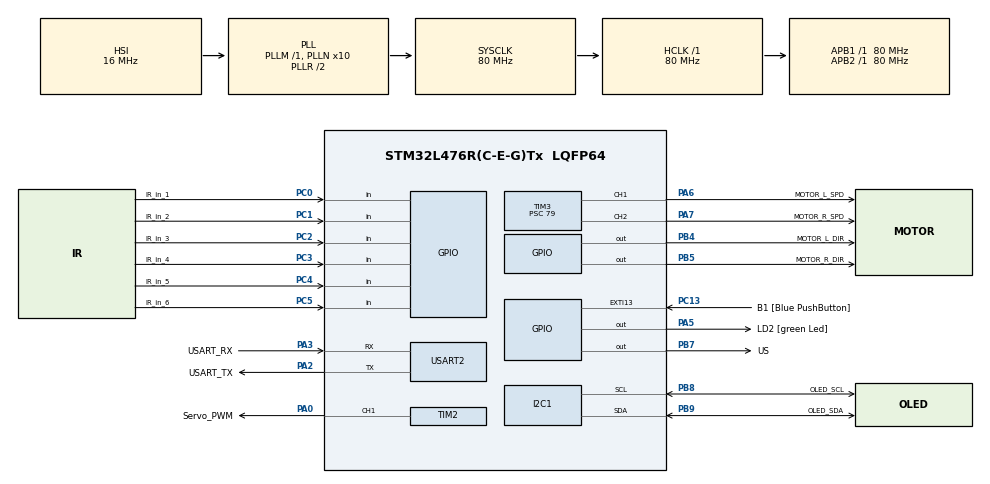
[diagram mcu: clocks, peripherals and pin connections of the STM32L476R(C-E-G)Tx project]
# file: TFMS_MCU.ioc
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I2C1.CustomTiming=Disabled
I2C1.Timing=0x10D19CE4
Mcu.Family=STM32L4
Mcu.Name=STM32L476R(C-E-G)Tx
Mcu.Package=LQFP64
NVIC.PriorityGroup=NVIC_PRIORITYGROUP_4
PA0.GPIO_Label=Servo_PWM
PA0.Signal=S_TIM2_CH1
PA13\ (JTMS-SWDIO).GPIO_Label=TMS
PA13\ (JTMS-SWDIO).Mode=Serial_Wire
PA13\ (JTMS-SWDIO).Signal=SYS_JTMS-SWDIO
PA14\ (JTCK-SWCLK).GPIO_Label=TCK
PA14\ (JTCK-SWCLK).Mode=Serial_Wire
PA14\ (JTCK-SWCLK).Signal=SYS_JTCK-SWCLK
PA2.GPIO_Label=USART_TX
PA2.GPIO_Mode=GPIO_MODE_AF_PP
PA2.GPIO_PuPd=GPIO_NOPULL
PA2.GPIO_Speed=GPIO_SPEED_FREQ_VERY_HIGH
PA2.Mode=Asynchronous
PA2.Signal=USART2_TX
PA3.GPIO_Label=USART_RX
PA3.GPIO_Mode=GPIO_MODE_AF_PP
PA3.GPIO_PuPd=GPIO_NOPULL
PA3.GPIO_Speed=GPIO_SPEED_FREQ_VERY_HIGH
PA3.Mode=Asynchronous
PA3.Signal=USART2_RX
PA5.GPIO_Label=LD2 [green Led]
PA5.GPIO_ModeDefaultOutputPP=GPIO_MODE_OUTPUT_PP
PA5.GPIO_PuPd=GPIO_NOPULL
PA5.GPIO_Speed=GPIO_SPEED_FREQ_LOW
PA5.Signal=GPIO_Output
PA6.GPIO_Label=MOTOR_L_SPD
PA6.Signal=S_TIM3_CH1
PA7.GPIO_Label=MOTOR_R_SPD
PA7.Signal=S_TIM3_CH2
PB3\ (JTDO-TRACESWO).GPIO_Label=SWO
PB3\ (JTDO-TRACESWO).Signal=SYS_JTDO-SWO
PB4\ (NJTRST).GPIO_Label=MOTOR_L_DIR
PB4\ (NJTRST).Signal=GPIO_Output
PB5.GPIO_Label=MOTOR_R_DIR
PB5.Signal=GPIO_Output
PB7.GPIO_Label=US
PB7.Signal=GPIO_Output
PB8.GPIO_Label=OLED_SCL
PB8.Mode=I2C
PB8.Signal=I2C1_SCL
PB9.GPIO_Label=OLED_SDA
PB9.Mode=I2C
PB9.Signal=I2C1_SDA
PC0.GPIO_Label=IR_in_1
PC0.Signal=GPIO_Input
PC1.GPIO_Label=IR_in_2
PC1.Signal=GPIO_Input
PC13.GPIO_Label=B1 [Blue PushButton]
PC13.GPIO_ModeDefaultEXTI=GPIO_MODE_IT_FALLING
PC13.GPIO_PuPd=GPIO_NOPULL
PC13.Signal=GPXTI13
PC14-OSC32_IN\ (PC14).Mode=LSE-External-Oscillator
PC14-OSC32_IN\ (PC14).Signal=RCC_OSC32_IN
PC15-OSC32_OUT\ (PC15).Mode=LSE-External-Oscillator
PC15-OSC32_OUT\ (PC15).Signal=RCC_OSC32_OUT
PC2.GPIO_Label=IR_in_3
PC2.Signal=GPIO_Input
PC3.GPIO_Label=IR_in_4
PC3.Signal=GPIO_Input
PC4.GPIO_Label=IR_in_5
PC4.Signal=GPIO_Input
PC5.GPIO_Label=IR_in_6
PC5.Signal=GPIO_Input
PH0-OSC_IN\ (PH0).Signal=RCC_OSC_IN
PH1-OSC_OUT\ (PH1).Signal=RCC_OSC_OUT
ProjectManager.HeapSize=0x200
ProjectManager.StackSize=0x400
ProjectManager.TargetToolchain=STM32CubeIDE
RCC.ADCFreq_Value=64000000
RCC.AHBFreq_Value=80000000
RCC.APB1Freq_Value=80000000
RCC.APB1TimFreq_Value=80000000
RCC.APB2Freq_Value=80000000
RCC.APB2TimFreq_Value=80000000
RCC.CortexFreq_Value=80000000
RCC.HCLKFreq_Value=80000000
RCC.HSE_VALUE=8000000
RCC.HSI_VALUE=16000000
RCC.MSI_VALUE=4000000
RCC.PLLN=10
RCC.PLLSourceVirtual=RCC_PLLSOURCE_HSI
RCC.PREFETCH_ENABLE=1
RCC.SYSCLKFreq_VALUE=80000000
RCC.SYSCLKSource=RCC_SYSCLKSOURCE_PLLCLK
RCC.USBFreq_Value=64000000
RCC.VCOOutputFreq_Value=160000000
SH.S_TIM2_CH1.0=TIM2_CH1,PWM Generation1 CH1
SH.S_TIM3_CH1.0=TIM3_CH1,PWM Generation1 CH1
SH.S_TIM3_CH2.0=TIM3_CH2,PWM Generation2 CH2
TIM2.Channel-PWM\ Generation1\ CH1=TIM_CHANNEL_1
TIM2.Period=19999
TIM2.Prescaler=79
TIM3.Channel-PWM\ Generation1\ CH1=TIM_CHANNEL_1
TIM3.Channel-PWM\ Generation2\ CH2=TIM_CHANNEL_2
TIM3.Prescaler=79
USART2.VirtualMode-Asynchronous=VM_ASYNC
VP_TIM4_VS_ClockSourceINT.Mode=Internal
board=NUCLEO-L476RG

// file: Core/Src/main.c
/* USER CODE BEGIN Header */
/**
  ******************************************************************************
  * @file           : main.c
  * @brief          : Main program body
  ******************************************************************************
  * @attention
  *
  * Copyright (c) 2026 STMicroelectronics.
  * All rights reserved.
  *
  * This software is licensed under terms that can be found in the LICENSE file
  * in the root directory of this software component.
  * If no LICENSE file comes with this software, it is provided AS-IS.
  *
  ******************************************************************************
  */
/* USER CODE END Header */

#include "main.h"

/* USER CODE BEGIN Includes */
#include <stdint.h>
#include <stdbool.h>
/* USER CODE END Includes */

/* USER CODE BEGIN PTD */
typedef enum
{
  STEER_KEEP_LAST = 0,
  STEER_HARD_LEFT,
  STEER_LEFT,
  STEER_SOFT_LEFT,
  STEER_STRAIGHT,
  STEER_SOFT_RIGHT,
  STEER_RIGHT,
  STEER_HARD_RIGHT
} steer_cmd_t;
/* USER CODE END PTD */

/* USER CODE BEGIN PD */
// Servo timer
#define SERVO_TIM               (&htim2)
#define SERVO_CH                TIM_CHANNEL_1 // PA0

// Motor timer
#define MOTOR_TIM               (&htim3)
#define MOTOR_L_PWM_CH          TIM_CHANNEL_1 // PA6
#define MOTOR_R_PWM_CH          TIM_CHANNEL_2 // PA7

// Sensor count
#define IR_BLACK_IS_LOW         0U // 0 if read black, 1 if white
#define IR_SENSOR_COUNT         6U // 6 IR sensors total, PC0 - PC5

// Initial Motor Speeds
#define MOTOR_SPEED_STOP         0U // Stationary speed,
#define MOTOR_SPEED_STARTUP     70U // Kick-start speed,

// US sensor stopping distance
#define OBSTACLE_STOP_DISTANCE_MM   100U // 100 mm, PB7

// Motor directions
#define MOTOR_L_FORWARD_LEVEL   GPIO_PIN_SET   // SET forward, RESET back, PB4
#define MOTOR_R_FORWARD_LEVEL   GPIO_PIN_RESET // RESET forward, SET back, PB5

// Define track: 1U = Track 1 | 2U = Track 2
#define TRACK_PROFILE  2U

/*================================== Track 1 =================================*/
#if (TRACK_PROFILE == 1U)

// Motor Speeds
#define MOTOR_SPEED_STRAIGHT       50U
#define MOTOR_SPEED_SOFT_TURN      45U
#define MOTOR_SPEED_HARD_TURN      45U

// Servo turn ang les
#define SERVO_STRAIGHT_ANGLE     90.0f
#define SERVO_HARD_LEFT_ANGLE    20.0f
#define SERVO_LEFT_ANGLE         40.0f
#define SERVO_SOFT_LEFT_ANGLE    65.0f
#define SERVO_SOFT_RIGHT_ANGLE  115.0f
#define SERVO_RIGHT_ANGLE       140.0f
#define SERVO_HARD_RIGHT_ANGLE  160.0f

// Sensor hyperparameters
#define IR_SAMPLE_COUNT             5U // Samples in a cycle, Higher  more noise filtering
#define IR_SAMPLE_DELAY_US        200U // Time (µs) between consec samples, Larger = more stable
#define STEER_CMD_CONFIRM_COUNT     1U // Number of consecutive identical decisions required
#define SERVO_MAX_STEP_PER_LOOP  10.0f // Maximum angle change per control loop
#define CONTROL_LOOP_DELAY_MS      10U // Delay between control updates (ms)

// Active sensor count per direction
#define STEER_LEFT_SENSOR_COUNT  1U // 1 IR sensor left
#define STEER_RIGHT_SENSOR_COUNT 1U // 1 IR sensor right

/*================================== Track 2 =================================*/
#elif (TRACK_PROFILE == 2U)

// Motor Speeds
#define MOTOR_SPEED_STRAIGHT       40U
#define MOTOR_SPEED_SOFT_TURN      45U
#define MOTOR_SPEED_HARD_TURN      45U

// Servo turn angles
#define SERVO_STRAIGHT_ANGLE     90.0f
#define SERVO_HARD_LEFT_ANGLE     5.0f
#define SERVO_LEFT_ANGLE         25.0f
#define SERVO_SOFT_LEFT_ANGLE    45.0f
#define SERVO_SOFT_RIGHT_ANGLE  135.0f
#define SERVO_RIGHT_ANGLE       155.0f
#define SERVO_HARD_RIGHT_ANGLE  175.0f

// Sensor hyperparameters
#define IR_SAMPLE_COUNT             3U // Samples in a cycle, Higher  more noise filtering
#define IR_SAMPLE_DELAY_US         50U // Time (µs) between consec samples, Larger = more stable
#define STEER_CMD_CONFIRM_COUNT     1U // Number of consecutive identical decisions required
#define SERVO_MAX_STEP_PER_LOOP  15.0f // Maximum angle change per control loop
#define CONTROL_LOOP_DELAY_MS       1U // Delay between control updates (ms)

// Active sensor count per direction
#define STEER_LEFT_SENSOR_COUNT  2U // 2 IR sensor left
#define STEER_RIGHT_SENSOR_COUNT 2U // 2 IR sensor right

#else
#error "TRACK_PROFILE must be 1 or 2!"
#endif
/* USER CODE END PD */

I2C_HandleTypeDef hi2c1;

TIM_HandleTypeDef htim2;
TIM_HandleTypeDef htim3;
TIM_HandleTypeDef htim4;

UART_HandleTypeDef huart2;

/* USER CODE BEGIN PV */
// GPIO mapping for IR1..IR6
static GPIO_TypeDef* const ir_ports[IR_SENSOR_COUNT] =
{
  IR_in_1_GPIO_Port,
  IR_in_2_GPIO_Port,
  IR_in_3_GPIO_Port,
  IR_in_4_GPIO_Port,
  IR_in_5_GPIO_Port,
  IR_in_6_GPIO_Port
};

static const uint16_t ir_pins[IR_SENSOR_COUNT] =
{
  IR_in_1_Pin,
  IR_in_2_Pin,
  IR_in_3_Pin,
  IR_in_4_Pin,
  IR_in_5_Pin,
  IR_in_6_Pin
};

#if (TRACK_PROFILE == 1U)
// Track 1: IR2 on left, IR5 on right
static const uint8_t steer_left_indices[STEER_LEFT_SENSOR_COUNT]   = {1U}; // IR2
static const uint8_t steer_right_indices[STEER_RIGHT_SENSOR_COUNT] = {4U}; // IR5
#elif (TRACK_PROFILE == 2U)
// Track 2: IR2+IR3 on left, IR4+IR5 on right
static const uint8_t steer_left_indices[STEER_LEFT_SENSOR_COUNT]   = {1U, 2U}; // IR2, IR3
static const uint8_t steer_right_indices[STEER_RIGHT_SENSOR_COUNT] = {3U, 4U}; // IR4, IR5
#endif

// Latest sensor and steering state
volatile uint8_t g_ir_mask = 0U;
volatile uint32_t g_us_mm = 0U;
static float g_last_steer_angle = SERVO_STRAIGHT_ANGLE;

static steer_cmd_t g_last_cmd = STEER_STRAIGHT;
static steer_cmd_t g_pending_cmd = STEER_STRAIGHT;
static uint8_t g_pending_count = 0U;
/* USER CODE END PV */

void SystemClock_Config(void);
static void MX_GPIO_Init(void);
static void MX_I2C1_Init(void);
static void MX_TIM2_Init(void);
static void MX_TIM3_Init(void);
static void MX_TIM4_Init(void);
static void MX_USART2_UART_Init(void);

/* USER CODE BEGIN PFP */
// Servo control helpers
static void servo_set_pulse_us(uint16_t pulse_us);
static void servo_set_angle(float angle);

// Motor control helpers
static void motor_set_raw(uint32_t channel, uint8_t value);
static void motor_set_left(uint8_t speed);
static void motor_set_right(uint8_t speed);
static void motor_set_both(uint8_t speed);
static void motor_stop(void);
static void motor_set_forward_direction(void);

// IR sensor reading helpers
static bool ir_read_black(uint8_t idx);
static uint8_t ir_read_mask(void);

// US sensor helpers
static void us_pin_output(void);
static void us_pin_input(void);
static void us_delay_us(uint16_t us);
static void us_trigger(void);
static uint32_t us_echo_pulse_us(uint32_t timeout_us);
static uint32_t us_read_distance_mm(void);

// Steering decision helpers
static steer_cmd_t steering_get_command(uint8_t ir_mask);
static steer_cmd_t steering_filter_command(steer_cmd_t new_cmd);
static void steering_apply_command(steer_cmd_t cmd);
static uint8_t speed_for_steering(steer_cmd_t cmd);
static void control_loop(void);

// Manual test helpers
static void servo_sweep_test(void);
static void motor_test(void);
/* USER CODE END PFP */

/* USER CODE BEGIN 0 */
/*================================= Servo ====================================*/
// Servo PWM pulse width in microseconds
static void servo_set_pulse_us(uint16_t pulse_us)
{
  // Clamp pulse width to safe servo range
  if (pulse_us < 800U)  pulse_us = 800U;
  if (pulse_us > 2400U) pulse_us = 2400U;

  __HAL_TIM_SET_COMPARE(SERVO_TIM, SERVO_CH, pulse_us);
}

// Convert steering angle to PWM pulse and send it to the servo
static void servo_set_angle(float angle)
{
  // Clamp angle to standard servo range (0–180 degrees, 90 is centre)
  if (angle < 0.0f)   angle = 0.0f;
  if (angle > 180.0f) angle = 180.0f;

  // Convert angle to PWM pulse
  float pulse_us_f = 1000.0f + (angle / 180.0f) * 1000.0f;

  servo_set_pulse_us((uint16_t)(pulse_us_f + 0.5f));
}

/*================================= Motor ====================================*/
// Write raw PWM value to one motor channel
static void motor_set_raw(uint32_t channel, uint8_t value)
{
  uint32_t arr = __HAL_TIM_GET_AUTORELOAD(MOTOR_TIM);
  uint32_t pulse = ((uint32_t)value * arr) / 255U;
  __HAL_TIM_SET_COMPARE(MOTOR_TIM, channel, pulse);
}
// Set left motor speed
static void motor_set_left(uint8_t speed)
{
  motor_set_raw(MOTOR_L_PWM_CH, speed);
}

// Set right motor speed
static void motor_set_right(uint8_t speed)
{
  motor_set_raw(MOTOR_R_PWM_CH, speed);
}

// Set both motors to the same speed
static void motor_set_both(uint8_t speed)
{
  motor_set_left(speed);
  motor_set_right(speed);
}

// Stop both motors
static void motor_stop(void)
{
  motor_set_both(MOTOR_SPEED_STOP);
}

// Set motor direction pins for forward travel
static void motor_set_forward_direction(void)
{
  HAL_GPIO_WritePin(MOTOR_L_DIR_GPIO_Port, MOTOR_L_DIR_Pin, MOTOR_L_FORWARD_LEVEL);
  HAL_GPIO_WritePin(MOTOR_R_DIR_GPIO_Port, MOTOR_R_DIR_Pin, MOTOR_R_FORWARD_LEVEL);
}

/*===================================== IR ===================================*/
// Read one IR sensor and return true if it detects black
static bool ir_read_black(uint8_t idx)
{
  // Check for valid sensor index
  if (idx >= IR_SENSOR_COUNT)
  {
    return false;   // Invalid index → no detection
  }
  // Read the GPIO pin state for the given IR sensor
  GPIO_PinState s = HAL_GPIO_ReadPin(ir_ports[idx], ir_pins[idx]);

#if IR_BLACK_IS_LOW
  return (s == GPIO_PIN_RESET);
#else
  return (s == GPIO_PIN_SET);
#endif
}

// Read all IR sensors and pack results into a bit mask
static uint8_t ir_read_mask(void)
{
  uint8_t mask = 0U; // Bitmask to store results for all sensors

  // Loop through each IR sensor
  for (uint8_t i = 0U; i < IR_SENSOR_COUNT; i++)
  {
    uint8_t black_count = 0U; // Count how many times black is detected

    // Take multiple samples for noise reduction
    for (uint8_t s = 0U; s < IR_SAMPLE_COUNT; s++)
    {
      // Read sensor and increment count if black is detected
      if (ir_read_black(i))
      {
        black_count++;
      }

      // Small delay between samples
      us_delay_us(IR_SAMPLE_DELAY_US);
    }

    // Majority voting: if more than half the samples detect black
    if (black_count >= ((IR_SAMPLE_COUNT / 2U) + 1U))
    {
      // Set the corresponding bit in the mask
      mask |= (1U << i);
    }
  }

  return mask;
}

/*============================== Ultrasonic ==================================*/
// Configure shared US pin as output for trigger pulse
static void us_pin_output(void)
{
  GPIO_InitTypeDef GPIO_InitStruct = {0};

  GPIO_InitStruct.Pin = US_Pin;
  GPIO_InitStruct.Mode = GPIO_MODE_OUTPUT_PP; 	 // Push-pull output mode
  GPIO_InitStruct.Pull = GPIO_NOPULL; 			 // No pull-up or pull-down
  GPIO_InitStruct.Speed = GPIO_SPEED_FREQ_LOW;   // Low speed is sufficient
  HAL_GPIO_Init(US_GPIO_Port, &GPIO_InitStruct);
}

// Configure shared US pin as input for echo reading
static void us_pin_input(void)
{
  GPIO_InitTypeDef GPIO_InitStruct = {0};

  GPIO_InitStruct.Pin = US_Pin;
  GPIO_InitStruct.Mode = GPIO_MODE_INPUT;	// Set pin as input to read echo signal
  GPIO_InitStruct.Pull = GPIO_NOPULL;		// No pull resistor needed
  HAL_GPIO_Init(US_GPIO_Port, &GPIO_InitStruct);
}

// Microsecond delay using TIM4
static void us_delay_us(uint16_t us)
{
  // Reset timer counter
  __HAL_TIM_SET_COUNTER(&htim4, 0U);

  // Wait until counter reaches desired microseconds
  while (__HAL_TIM_GET_COUNTER(&htim4) < us)
  {
  }
}

// Send trigger pulse to US sensor
static void us_trigger(void)
{
  // Set pin as output to send trigger signal
  us_pin_output();

  // Ensure clean LOW before pulse
  HAL_GPIO_WritePin(US_GPIO_Port, US_Pin, GPIO_PIN_RESET);
  us_delay_us(2U);

  // Send HIGH pulse (minimum 10 µs required by most sensors)
  HAL_GPIO_WritePin(US_GPIO_Port, US_Pin, GPIO_PIN_SET);
  us_delay_us(10U);

  // End trigger pulse
  HAL_GPIO_WritePin(US_GPIO_Port, US_Pin, GPIO_PIN_RESET);

  // Switch pin back to input mode to listen for echo
  us_pin_input();
}

// Measure echo pulse width in microseconds
static uint32_t us_echo_pulse_us(uint32_t timeout_us)
{
  // Wait for echo signal to go HIGH (start of echo)
  __HAL_TIM_SET_COUNTER(&htim4, 0U);
  while (HAL_GPIO_ReadPin(US_GPIO_Port, US_Pin) == GPIO_PIN_RESET)
  {
	// Timeout protection to avoid infinite loop
    if (__HAL_TIM_GET_COUNTER(&htim4) > timeout_us)
    {
      return 0U; // No echo detected
    }
  }

  // Measure how long the signal stays HIGH (echo duration)
  __HAL_TIM_SET_COUNTER(&htim4, 0U);
  while (HAL_GPIO_ReadPin(US_GPIO_Port, US_Pin) == GPIO_PIN_SET)
  {
    // Timeout protection
    if (__HAL_TIM_GET_COUNTER(&htim4) > timeout_us)
    {
      return 0U;
    }
  }

  // Return pulse width in microseconds
  return __HAL_TIM_GET_COUNTER(&htim4);
}

// Read obstacle distance in millimetres (mm)
static uint32_t us_read_distance_mm(void)
{
  uint32_t pw;

  // Send trigger pulse
  us_trigger();

  // Measure echo pulse width (timeout ~30 ms → ~5 meters max range)
  pw = us_echo_pulse_us(30000U);

  // If no valid echo, return 0 (no object or out of range)
  if (pw == 0U)
  {
    return 0U;
  }

  // distance = (time × speed of sound) / 2
  // speed of sound ≈ 343 m/s → 0.343 mm/µs
  // division by 2 accounts for round trip (to object and back)
  return (pw * 343U) / 2000U;
}

/*=============================== Steering ==================================*/
// Generate steering command from active IR sensor states
static steer_cmd_t steering_get_command(uint8_t ir_mask)
{
  uint8_t left_count = 0U;
  uint8_t right_count = 0U;

  // Count how many LEFT-side sensors detect the line
  for (uint8_t i = 0U; i < STEER_LEFT_SENSOR_COUNT; i++)
  {

	// Check valid index and if that sensor bit is active in mask
    uint8_t idx = steer_left_indices[i];
    if ((idx < IR_SENSOR_COUNT) && ((ir_mask & (1U << idx)) != 0U))
    {
      left_count++;
    }
  }

  // Count how many RIGHT-side sensors detect the line
  for (uint8_t i = 0U; i < STEER_RIGHT_SENSOR_COUNT; i++)
  {
    uint8_t idx = steer_right_indices[i];
    if ((idx < IR_SENSOR_COUNT) && ((ir_mask & (1U << idx)) != 0U))
    {
      right_count++;
    }
  }

  // If no sensors detect the line → keep last steering decision
  if ((left_count == 0U) && (right_count == 0U))
  {
    return STEER_KEEP_LAST;
  }

  // Equal detection → go straight
  if (left_count == right_count)
  {
    return STEER_STRAIGHT;
  }

  // More detection on LEFT → steer left
  if (left_count > right_count)
  {
	// Multiple sensors active → stronger turn
    if ((STEER_LEFT_SENSOR_COUNT > 1U) && (left_count >= 2U))
    {
      return STEER_HARD_LEFT;
    }
    else
    {
      return STEER_LEFT;
    }
  }

  // More detection on RIGHT → steer right
  if (right_count > left_count)
  {
	// Multiple sensors active → stronger turn
    if ((STEER_RIGHT_SENSOR_COUNT > 1U) && (right_count >= 2U))
    {
      return STEER_HARD_RIGHT;
    }
    else
    {
      return STEER_RIGHT;
    }
  }

  // Fallback
  return STEER_KEEP_LAST;
}

// Smooth sudden steering command changes
static steer_cmd_t steering_filter_command(steer_cmd_t new_cmd)
{
  // If command is same as last applied → reset pending and return
  if (new_cmd == g_last_cmd)
  {
    g_pending_cmd = new_cmd;
    g_pending_count = 0U;
    return g_last_cmd;
  }

  // If new command matches the pending one → increment confirmation counter
  if (new_cmd == g_pending_cmd)
  {
    if (g_pending_count < STEER_CMD_CONFIRM_COUNT)
    {
      g_pending_count++;
    }
  }
  else
  {
	// New command is different → reset confirmation process
    g_pending_cmd = new_cmd;
    g_pending_count = 0U;
  }

  // Only accept new command after it is stable for N cycles
  if (g_pending_count >= STEER_CMD_CONFIRM_COUNT)
  {
    g_last_cmd = g_pending_cmd;
    g_pending_count = 0U;
  }

  // Return the currently accepted (stable) command
  return g_last_cmd;
}

// Convert steering command into servo movement
static void steering_apply_command(steer_cmd_t cmd)
{
  // Start from last angle (for smooth transitions)
  float target_angle = g_last_steer_angle;

  // Map steering command to predefined servo angles
  switch (cmd)
  {
    case STEER_HARD_LEFT:  target_angle = SERVO_HARD_LEFT_ANGLE;  break;
    case STEER_LEFT:       target_angle = SERVO_LEFT_ANGLE;       break;
    case STEER_SOFT_LEFT:  target_angle = SERVO_SOFT_LEFT_ANGLE;  break;
    case STEER_STRAIGHT:   target_angle = SERVO_STRAIGHT_ANGLE;   break;
    case STEER_SOFT_RIGHT: target_angle = SERVO_SOFT_RIGHT_ANGLE; break;
    case STEER_RIGHT:      target_angle = SERVO_RIGHT_ANGLE;      break;
    case STEER_HARD_RIGHT: target_angle = SERVO_HARD_RIGHT_ANGLE; break;

    // Keep last angle if no change requested
    case STEER_KEEP_LAST:
    default:
      target_angle = g_last_steer_angle;
      break;
  }

  // Limit how fast the servo can move (prevents jerky motion)
  if (target_angle > (g_last_steer_angle + SERVO_MAX_STEP_PER_LOOP))
  {
    target_angle = g_last_steer_angle + SERVO_MAX_STEP_PER_LOOP;
  }
  else if (target_angle < (g_last_steer_angle - SERVO_MAX_STEP_PER_LOOP))
  {
    target_angle = g_last_steer_angle - SERVO_MAX_STEP_PER_LOOP;
  }

  // Update stored angle and apply to servo
  g_last_steer_angle = target_angle;
  servo_set_angle(target_angle);
}

// Choose motor speed based on steering demand
static uint8_t speed_for_steering(steer_cmd_t cmd)
{
  switch (cmd)
  {
    // Sharp turns → slow down significantly
    case STEER_HARD_LEFT:
    case STEER_HARD_RIGHT:
      return MOTOR_SPEED_HARD_TURN;

    // Moderate turns → medium speed
    case STEER_LEFT:
    case STEER_RIGHT:
    case STEER_SOFT_LEFT:
    case STEER_SOFT_RIGHT:
      return MOTOR_SPEED_SOFT_TURN;

    // If unsure, stay cautious
    case STEER_KEEP_LAST:
      return MOTOR_SPEED_SOFT_TURN;

    // Straight → maximum speed
    case STEER_STRAIGHT:
    default:
      return MOTOR_SPEED_STRAIGHT;
  }
}

// Run one full read-decide-act control cycle
static void control_loop(void)
{
  steer_cmd_t steer_cmd;
  uint8_t motor_speed;

  // SENSE
  g_ir_mask = ir_read_mask();      // Read line sensors
  g_us_mm = us_read_distance_mm(); // Read ultrasonic distance

  // DECIDE
  steer_cmd = steering_get_command(g_ir_mask);    // Raw decision
  steer_cmd = steering_filter_command(steer_cmd); // Smoothed decision

  motor_speed = speed_for_steering(steer_cmd);    // Adjust speed

  // OBSTACLE DETECTION
  if ((OBSTACLE_STOP_DISTANCE_MM > 0U) &&
      (g_us_mm > 0U) &&
      (g_us_mm < OBSTACLE_STOP_DISTANCE_MM))
  {
	// Stop if obstacle is too close
    motor_stop();
  }
  else
  {
	// Otherwise move forward at selected speed
    motor_set_forward_direction();
    motor_set_both(motor_speed);
  }

  // Apply steering to servo
  steering_apply_command(steer_cmd);

  // Small delay to control loop frequency
  HAL_Delay(CONTROL_LOOP_DELAY_MS);
}

/*================================= Tests ====================================*/
// Servo sweep test through preset steering positions
static void servo_sweep_test(void)
{
  servo_set_angle(SERVO_HARD_LEFT_ANGLE);
  HAL_Delay(1000);

  servo_set_angle(SERVO_LEFT_ANGLE);
  HAL_Delay(1000);

  servo_set_angle(SERVO_SOFT_LEFT_ANGLE);
  HAL_Delay(1000);

  servo_set_angle(SERVO_STRAIGHT_ANGLE);
  HAL_Delay(1000);

  servo_set_angle(SERVO_SOFT_RIGHT_ANGLE);
  HAL_Delay(1000);

  servo_set_angle(SERVO_RIGHT_ANGLE);
  HAL_Delay(1000);

  servo_set_angle(SERVO_HARD_RIGHT_ANGLE);
  HAL_Delay(1000);
}

// Motor test for L and R separately
static void motor_test(void)
{
  HAL_GPIO_WritePin(MOTOR_L_DIR_GPIO_Port, MOTOR_L_DIR_Pin, GPIO_PIN_SET);
  __HAL_TIM_SET_COMPARE(&htim3, TIM_CHANNEL_1, 200);
  HAL_Delay(1000);

  HAL_GPIO_WritePin(MOTOR_L_DIR_GPIO_Port, MOTOR_L_DIR_Pin, GPIO_PIN_RESET);
  HAL_Delay(1000);

  HAL_GPIO_WritePin(MOTOR_R_DIR_GPIO_Port, MOTOR_R_DIR_Pin, GPIO_PIN_SET);
  __HAL_TIM_SET_COMPARE(&htim3, TIM_CHANNEL_2, 200);
  HAL_Delay(1000);

  HAL_GPIO_WritePin(MOTOR_R_DIR_GPIO_Port, MOTOR_R_DIR_Pin, GPIO_PIN_RESET);
  HAL_Delay(1000);
}
/* USER CODE END 0 */

int main(void)
{

  /* USER CODE BEGIN Init */
  HAL_Init();
  /* USER CODE END Init */

  SystemClock_Config();

  /* USER CODE BEGIN SysInit */
  MX_GPIO_Init();
  MX_I2C1_Init();
  MX_TIM2_Init();
  MX_TIM3_Init();
  MX_TIM4_Init();
  MX_USART2_UART_Init();
  /* USER CODE END SysInit */

  /* USER CODE BEGIN 2 */
  HAL_TIM_PWM_Start(&htim2, TIM_CHANNEL_1);
  HAL_TIM_PWM_Start(&htim3, TIM_CHANNEL_1);
  HAL_TIM_PWM_Start(&htim3, TIM_CHANNEL_2);
  HAL_TIM_Base_Start(&htim4);

  servo_set_angle(SERVO_STRAIGHT_ANGLE); // Center steering
  motor_set_forward_direction();
  motor_stop();
  HAL_Delay(200);

  motor_set_both(MOTOR_SPEED_STARTUP); // Kickstart motors
  HAL_Delay(100);
  motor_stop();
  HAL_Delay(100);
  /* USER CODE END 2 */

  while (1)
  {
    /* USER CODE BEGIN 3 */
    control_loop();

    // Test/debug functions
//    servo_sweep_test();
//    motor_test();
    /* USER CODE END 3 */
  }
}

void SystemClock_Config(void)
{
  RCC_OscInitTypeDef RCC_OscInitStruct = {0};
  RCC_ClkInitTypeDef RCC_ClkInitStruct = {0};

  if (HAL_PWREx_ControlVoltageScaling(PWR_REGULATOR_VOLTAGE_SCALE1) != HAL_OK)
  {
    Error_Handler();
  }

  RCC_OscInitStruct.OscillatorType = RCC_OSCILLATORTYPE_HSI;
  RCC_OscInitStruct.HSIState = RCC_HSI_ON;
  RCC_OscInitStruct.HSICalibrationValue = RCC_HSICALIBRATION_DEFAULT;
  RCC_OscInitStruct.PLL.PLLState = RCC_PLL_ON;
  RCC_OscInitStruct.PLL.PLLSource = RCC_PLLSOURCE_HSI;
  RCC_OscInitStruct.PLL.PLLM = 1;
  RCC_OscInitStruct.PLL.PLLN = 10;
  RCC_OscInitStruct.PLL.PLLP = RCC_PLLP_DIV7;
  RCC_OscInitStruct.PLL.PLLQ = RCC_PLLQ_DIV2;
  RCC_OscInitStruct.PLL.PLLR = RCC_PLLR_DIV2;
  if (HAL_RCC_OscConfig(&RCC_OscInitStruct) != HAL_OK)
  {
    Error_Handler();
  }

  RCC_ClkInitStruct.ClockType = RCC_CLOCKTYPE_HCLK|RCC_CLOCKTYPE_SYSCLK
                              | RCC_CLOCKTYPE_PCLK1|RCC_CLOCKTYPE_PCLK2;
  RCC_ClkInitStruct.SYSCLKSource = RCC_SYSCLKSOURCE_PLLCLK;
  RCC_ClkInitStruct.AHBCLKDivider = RCC_SYSCLK_DIV1;
  RCC_ClkInitStruct.APB1CLKDivider = RCC_HCLK_DIV1;
  RCC_ClkInitStruct.APB2CLKDivider = RCC_HCLK_DIV1;

  if (HAL_RCC_ClockConfig(&RCC_ClkInitStruct, FLASH_LATENCY_4) != HAL_OK)
  {
    Error_Handler();
  }
}

/**
  * @brief I2C1 Initialisation Function
  * @param None
  * @retval None
  */
static void MX_I2C1_Init(void)
{

  hi2c1.Instance = I2C1;
  hi2c1.Init.Timing = 0x10D19CE4;
  hi2c1.Init.OwnAddress1 = 0;
  hi2c1.Init.AddressingMode = I2C_ADDRESSINGMODE_7BIT;
  hi2c1.Init.DualAddressMode = I2C_DUALADDRESS_DISABLE;
  hi2c1.Init.OwnAddress2 = 0;
  hi2c1.Init.OwnAddress2Masks = I2C_OA2_NOMASK;
  hi2c1.Init.GeneralCallMode = I2C_GENERALCALL_DISABLE;
  hi2c1.Init.NoStretchMode = I2C_NOSTRETCH_DISABLE;
  if (HAL_I2C_Init(&hi2c1) != HAL_OK)
  {
    Error_Handler();
  }

  if (HAL_I2CEx_ConfigAnalogFilter(&hi2c1, I2C_ANALOGFILTER_ENABLE) != HAL_OK)
  {
    Error_Handler();
  }

  if (HAL_I2CEx_ConfigDigitalFilter(&hi2c1, 0) != HAL_OK)
  {
    Error_Handler();
  }

}

/**
  * @brief TIM2 Initialisation Function
  * @param None
  * @retval None
  */
static void MX_TIM2_Init(void)
{

  TIM_MasterConfigTypeDef sMasterConfig = {0};
  TIM_OC_InitTypeDef sConfigOC = {0};

  htim2.Instance = TIM2;
  htim2.Init.Prescaler = 79;
  htim2.Init.CounterMode = TIM_COUNTERMODE_UP;
  htim2.Init.Period = 19999;
  htim2.Init.ClockDivision = TIM_CLOCKDIVISION_DIV1;
  htim2.Init.AutoReloadPreload = TIM_AUTORELOAD_PRELOAD_DISABLE;
  if (HAL_TIM_PWM_Init(&htim2) != HAL_OK)
  {
    Error_Handler();
  }
  sMasterConfig.MasterOutputTrigger = TIM_TRGO_RESET;
  sMasterConfig.MasterSlaveMode = TIM_MASTERSLAVEMODE_DISABLE;
  if (HAL_TIMEx_MasterConfigSynchronization(&htim2, &sMasterConfig) != HAL_OK)
  {
    Error_Handler();
  }
  sConfigOC.OCMode = TIM_OCMODE_PWM1;
  sConfigOC.Pulse = 1500;
  sConfigOC.OCPolarity = TIM_OCPOLARITY_HIGH;
  sConfigOC.OCFastMode = TIM_OCFAST_DISABLE;
  if (HAL_TIM_PWM_ConfigChannel(&htim2, &sConfigOC, TIM_CHANNEL_1) != HAL_OK)
  {
    Error_Handler();
  }

  HAL_TIM_MspPostInit(&htim2);

}

/**
  * @brief TIM3 Initialisation Function
  * @param None
  * @retval None
  */
static void MX_TIM3_Init(void)
{

  TIM_MasterConfigTypeDef sMasterConfig = {0};
  TIM_OC_InitTypeDef sConfigOC = {0};

  htim3.Instance = TIM3;
  htim3.Init.Prescaler = 79;
  htim3.Init.CounterMode = TIM_COUNTERMODE_UP;
  htim3.Init.Period = 255;
  htim3.Init.ClockDivision = TIM_CLOCKDIVISION_DIV1;
  htim3.Init.AutoReloadPreload = TIM_AUTORELOAD_PRELOAD_DISABLE;
  if (HAL_TIM_PWM_Init(&htim3) != HAL_OK)
  {
    Error_Handler();
  }
  sMasterConfig.MasterOutputTrigger = TIM_TRGO_RESET;
  sMasterConfig.MasterSlaveMode = TIM_MASTERSLAVEMODE_DISABLE;
  if (HAL_TIMEx_MasterConfigSynchronization(&htim3, &sMasterConfig) != HAL_OK)
  {
    Error_Handler();
  }
  sConfigOC.OCMode = TIM_OCMODE_PWM1;
  sConfigOC.Pulse = 0;
  sConfigOC.OCPolarity = TIM_OCPOLARITY_HIGH;
  sConfigOC.OCFastMode = TIM_OCFAST_DISABLE;
  if (HAL_TIM_PWM_ConfigChannel(&htim3, &sConfigOC, TIM_CHANNEL_1) != HAL_OK)
  {
    Error_Handler();
  }
  if (HAL_TIM_PWM_ConfigChannel(&htim3, &sConfigOC, TIM_CHANNEL_2) != HAL_OK)
  {
    Error_Handler();
  }

  HAL_TIM_MspPostInit(&htim3);

}

/**
  * @brief TIM4 Initialisation Function
  * @param None
  * @retval None
  */
static void MX_TIM4_Init(void)
{

  TIM_ClockConfigTypeDef sClockSourceConfig = {0};
  TIM_MasterConfigTypeDef sMasterConfig = {0};

  htim4.Instance = TIM4;
  htim4.Init.Prescaler = 79;
  htim4.Init.CounterMode = TIM_COUNTERMODE_UP;
  htim4.Init.Period = 65535;
  htim4.Init.ClockDivision = TIM_CLOCKDIVISION_DIV1;
  htim4.Init.AutoReloadPreload = TIM_AUTORELOAD_PRELOAD_DISABLE;
  if (HAL_TIM_Base_Init(&htim4) != HAL_OK)
  {
    Error_Handler();
  }
  sClockSourceConfig.ClockSource = TIM_CLOCKSOURCE_INTERNAL;
  if (HAL_TIM_ConfigClockSource(&htim4, &sClockSourceConfig) != HAL_OK)
  {
    Error_Handler();
  }
  sMasterConfig.MasterOutputTrigger = TIM_TRGO_RESET;
  sMasterConfig.MasterSlaveMode = TIM_MASTERSLAVEMODE_DISABLE;
  if (HAL_TIMEx_MasterConfigSynchronization(&htim4, &sMasterConfig) != HAL_OK)
  {
    Error_Handler();
  }

}

/**
  * @brief USART2 Initialisation Function
  * @param None
  * @retval None
  */
static void MX_USART2_UART_Init(void)
{

  huart2.Instance = USART2;
  huart2.Init.BaudRate = 115200;
  huart2.Init.WordLength = UART_WORDLENGTH_8B;
  huart2.Init.StopBits = UART_STOPBITS_1;
  huart2.Init.Parity = UART_PARITY_NONE;
  huart2.Init.Mode = UART_MODE_TX_RX;
  huart2.Init.HwFlowCtl = UART_HWCONTROL_NONE;
  huart2.Init.OverSampling = UART_OVERSAMPLING_16;
  huart2.Init.OneBitSampling = UART_ONE_BIT_SAMPLE_DISABLE;
  huart2.AdvancedInit.AdvFeatureInit = UART_ADVFEATURE_NO_INIT;
  if (HAL_UART_Init(&huart2) != HAL_OK)
  {
    Error_Handler();
  }

}

/**
  * @brief GPIO Initialisation Function
  * @param None
  * @retval None
  */
static void MX_GPIO_Init(void)
{
  GPIO_InitTypeDef GPIO_InitStruct = {0};

  __HAL_RCC_GPIOC_CLK_ENABLE();
  __HAL_RCC_GPIOH_CLK_ENABLE();
  __HAL_RCC_GPIOA_CLK_ENABLE();
  __HAL_RCC_GPIOB_CLK_ENABLE();

  HAL_GPIO_WritePin(LD2_GPIO_Port, LD2_Pin, GPIO_PIN_RESET);
  HAL_GPIO_WritePin(GPIOB, MOTOR_L_DIR_Pin|MOTOR_R_DIR_Pin|US_Pin, GPIO_PIN_RESET);

  GPIO_InitStruct.Pin = B1_Pin;
  GPIO_InitStruct.Mode = GPIO_MODE_IT_FALLING;
  GPIO_InitStruct.Pull = GPIO_NOPULL;
  HAL_GPIO_Init(B1_GPIO_Port, &GPIO_InitStruct);

  GPIO_InitStruct.Pin = IR_in_1_Pin|IR_in_2_Pin|IR_in_3_Pin|IR_in_4_Pin
                      | IR_in_5_Pin|IR_in_6_Pin;
  GPIO_InitStruct.Mode = GPIO_MODE_INPUT;
  GPIO_InitStruct.Pull = GPIO_NOPULL;
  HAL_GPIO_Init(GPIOC, &GPIO_InitStruct);

  GPIO_InitStruct.Pin = LD2_Pin;
  GPIO_InitStruct.Mode = GPIO_MODE_OUTPUT_PP;
  GPIO_InitStruct.Pull = GPIO_NOPULL;
  GPIO_InitStruct.Speed = GPIO_SPEED_FREQ_LOW;
  HAL_GPIO_Init(LD2_GPIO_Port, &GPIO_InitStruct);

  GPIO_InitStruct.Pin = MOTOR_L_DIR_Pin|MOTOR_R_DIR_Pin|US_Pin;
  GPIO_InitStruct.Mode = GPIO_MODE_OUTPUT_PP;
  GPIO_InitStruct.Pull = GPIO_NOPULL;
  GPIO_InitStruct.Speed = GPIO_SPEED_FREQ_LOW;
  HAL_GPIO_Init(GPIOB, &GPIO_InitStruct);

}

void Error_Handler(void)
{
  __disable_irq();
  while (1)
  {
  }
}
